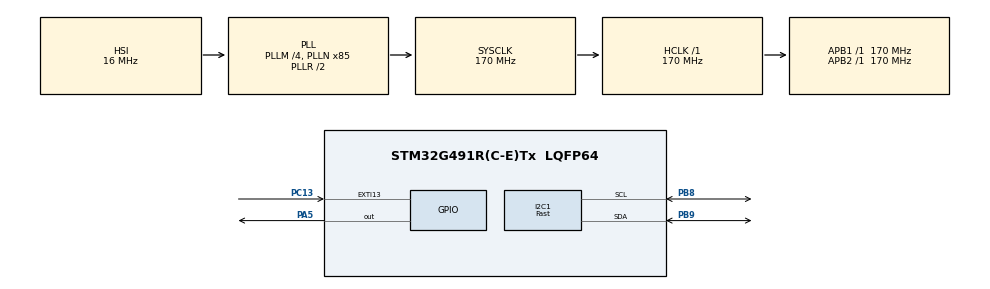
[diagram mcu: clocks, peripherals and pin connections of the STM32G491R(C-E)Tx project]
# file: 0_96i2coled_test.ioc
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I2C1.I2C_Speed_Mode=I2C_Fast
I2C1.Timing=0x40621236
Mcu.Family=STM32G4
Mcu.Name=STM32G491R(C-E)Tx
Mcu.Package=LQFP64
NUCLEO-G491RE.BUTTON=1
NUCLEO-G491RE.LD2=true
NUCLEO-G491RE.VCP=true
NVIC.EXTI15_10_IRQn=true\:0\:0\:false\:false\:true\:true\:true\:true
NVIC.PriorityGroup=NVIC_PRIORITYGROUP_4
PA13.GPIO_Label=T_SWDIO
PA13.Signal=SYS_JTMS-SWDIO
PA14.GPIO_Label=T_SWCLK
PA14.Signal=SYS_JTCK-SWCLK
PA2.Signal=LPUART1_TX
PA3.Signal=LPUART1_RX
PA5.Signal=GPIO_Output
PB3.GPIO_Label=T_SWO
PB3.Signal=SYS_JTDO-SWO
PB8-BOOT0.Mode=I2C
PB8-BOOT0.Signal=I2C1_SCL
PB9.Mode=I2C
PB9.Signal=I2C1_SDA
PC13.Signal=GPXTI13
PC14-OSC32_IN.GPIO_Label=RCC_OSC32_IN
PC14-OSC32_IN.Signal=RCC_OSC32_IN
PC15-OSC32_OUT.GPIO_Label=RCC_OSC32_OUT
PC15-OSC32_OUT.Signal=RCC_OSC32_OUT
PF0-OSC_IN.GPIO_Label=RCC_OSC_IN
PF0-OSC_IN.Signal=RCC_OSC_IN
PF1-OSC_OUT.GPIO_Label=RCC_OSC_OUT
PF1-OSC_OUT.Signal=RCC_OSC_OUT
ProjectManager.HeapSize=0x200
ProjectManager.StackSize=0x400
ProjectManager.TargetToolchain=STM32CubeIDE
RCC.ADC12Freq_Value=170000000
RCC.ADC345Freq_Value=170000000
RCC.AHBFreq_Value=170000000
RCC.APB1Freq_Value=170000000
RCC.APB1TimFreq_Value=170000000
RCC.APB2Freq_Value=170000000
RCC.APB2TimFreq_Value=170000000
RCC.CortexFreq_Value=170000000
RCC.EXTERNAL_CLOCK_VALUE=12288000
RCC.HCLKFreq_Value=170000000
RCC.HSE_VALUE=24000000
RCC.HSI48_VALUE=48000000
RCC.HSI_VALUE=16000000
RCC.LSE_VALUE=32768
RCC.PLLM=RCC_PLLM_DIV4
RCC.PLLN=85
RCC.RTCClockSelection=RCC_RTCCLKSOURCE_LSE
RCC.SYSCLKFreq_VALUE=170000000
RCC.SYSCLKSource=RCC_SYSCLKSOURCE_PLLCLK
RCC.USBFreq_Value=48000000
RCC.VCOOutputFreq_Value=340000000
VP_NUCLEO-G491RE_VS_BSP_COMMON.Mode=COMMON
VP_SYS_VS_DBSignals.Mode=DisableDeadBatterySignals
board=NUCLEO-G491RE

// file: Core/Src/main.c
/* USER CODE BEGIN Header */
/**
  ******************************************************************************
  * @file           : main.c
  * @brief          : Main program body
  ******************************************************************************
  * @attention
  *
  * Copyright (c) 2026 STMicroelectronics.
  * All rights reserved.
  *
  * This software is licensed under terms that can be found in the LICENSE file
  * in the root directory of this software component.
  * If no LICENSE file comes with this software, it is provided AS-IS.
  *
  ******************************************************************************
  */
/* USER CODE END Header */
#include "main.h"
#include <string.h>
#include <stdio.h>

COM_InitTypeDef BspCOMInit;
I2C_HandleTypeDef hi2c1;

/* USER CODE BEGIN PV */
#define OLED_ADDR (0x3C << 1)

// Global RAM frame buffer for the 128x64 display (8 pages of 128 bytes)
uint8_t OLED_Buffer[8][128];

// Complete 5x7 ASCII Font Table (Chars 32 to 95)
const uint8_t SSD1306_Font[][5] = {
    {0x00, 0x00, 0x00, 0x00, 0x00}, // Space
    {0x00, 0x00, 0x5f, 0x00, 0x00}, // !
    {0x00, 0x07, 0x00, 0x07, 0x00}, // "
    {0x14, 0x7f, 0x14, 0x7f, 0x14}, // #
    {0x24, 0x2a, 0x7f, 0x2a, 0x12}, // $
    {0x23, 0x13, 0x08, 0x64, 0x62}, // %
    {0x36, 0x49, 0x55, 0x22, 0x50}, // &
    {0x00, 0x05, 0x03, 0x00, 0x00}, // '
    {0x00, 0x1c, 0x22, 0x41, 0x00}, // (
    {0x00, 0x41, 0x22, 0x1c, 0x00}, // )
    {0x14, 0x08, 0x3e, 0x08, 0x14}, // *
    {0x08, 0x08, 0x3e, 0x08, 0x08}, // +
    {0x00, 0x50, 0x30, 0x00, 0x00}, // ,
    {0x08, 0x08, 0x08, 0x08, 0x08}, // -
    {0x00, 0x60, 0x60, 0x00, 0x00}, // .
    {0x20, 0x10, 0x08, 0x04, 0x02}, // /
    {0x3e, 0x51, 0x49, 0x45, 0x3e}, // 0
    {0x00, 0x42, 0x7f, 0x40, 0x00}, // 1
    {0x42, 0x61, 0x51, 0x49, 0x46}, // 2
    {0x21, 0x41, 0x45, 0x4b, 0x31}, // 3
    {0x18, 0x14, 0x12, 0x7f, 0x10}, // 4
    {0x27, 0x45, 0x45, 0x45, 0x39}, // 5
    {0x3c, 0x4a, 0x49, 0x49, 0x30}, // 6
    {0x01, 0x71, 0x09, 0x05, 0x03}, // 7
    {0x36, 0x49, 0x49, 0x49, 0x36}, // 8
    {0x06, 0x49, 0x49, 0x29, 0x1e}, // 9
    {0x00, 0x36, 0x36, 0x00, 0x00}, // :
    {0x00, 0x56, 0x36, 0x00, 0x00}, // ;
    {0x08, 0x14, 0x22, 0x41, 0x00}, // <
    {0x24, 0x24, 0x24, 0x24, 0x24}, // =
    {0x00, 0x41, 0x22, 0x14, 0x08}, // >
    {0x02, 0x01, 0x51, 0x09, 0x06}, // ?
    {0x32, 0x49, 0x79, 0x41, 0x3e}, // @
    {0x7e, 0x11, 0x11, 0x11, 0x7e}, // A
    {0x7f, 0x49, 0x49, 0x49, 0x36}, // B
    {0x3e, 0x41, 0x41, 0x41, 0x22}, // C
    {0x7f, 0x41, 0x41, 0x22, 0x1c}, // D
    {0x7f, 0x49, 0x49, 0x49, 0x41}, // E
    {0x7f, 0x09, 0x09, 0x09, 0x01}, // F
    {0x3e, 0x41, 0x49, 0x49, 0x7a}, // G
    {0x7f, 0x08, 0x08, 0x08, 0x7f}, // H
    {0x00, 0x41, 0x7f, 0x41, 0x00}, // I
    {0x20, 0x40, 0x41, 0x3f, 0x01}, // J
    {0x7f, 0x08, 0x14, 0x22, 0x41}, // K
    {0x7f, 0x40, 0x40, 0x40, 0x40}, // L
    {0x7f, 0x02, 0x0c, 0x02, 0x7f}, // M
    {0x7f, 0x04, 0x08, 0x10, 0x7f}, // N
    {0x3e, 0x41, 0x41, 0x41, 0x3e}, // O
    {0x7f, 0x09, 0x09, 0x09, 0x06}, // P
    {0x3e, 0x41, 0x51, 0x21, 0x5e}, // Q
    {0x7f, 0x09, 0x19, 0x29, 0x46}, // R
    {0x46, 0x49, 0x49, 0x49, 0x31}, // S
    {0x01, 0x01, 0x7f, 0x01, 0x01}, // T
    {0x3f, 0x40, 0x40, 0x40, 0x3f}, // U
    {0x1f, 0x20, 0x40, 0x20, 0x1f}, // V
    {0x3f, 0x40, 0x38, 0x40, 0x3f}, // W
    {0x63, 0x14, 0x08, 0x14, 0x63}, // X
    {0x07, 0x08, 0x70, 0x08, 0x07}, // Y
    {0x61, 0x51, 0x49, 0x45, 0x43}, // Z
};

void oled_cmd(uint8_t cmd);
void oled_data(uint8_t data);
void oled_init(void);
void oled_clear_buffer(void);
void oled_update(void);
uint32_t oled_buffer_write_str(uint8_t page, int16_t col_offset, char* str);
/* USER CODE END PV */

void SystemClock_Config(void);
static void MX_GPIO_Init(void);
static void MX_I2C1_Init(void);

int main(void)
{
  /* MCU Configuration--------------------------------------------------------*/
  HAL_Init();
  SystemClock_Config();

  MX_GPIO_Init();
  MX_I2C1_Init();

  /* USER CODE BEGIN 2 */
  oled_init();
  oled_clear_buffer();
  oled_update();
  /* USER CODE END 2 */

  /* Initialize standard Nucleo components */
  BSP_LED_Init(LED_GREEN);
  BSP_PB_Init(BUTTON_USER, BUTTON_MODE_EXTI);

  BspCOMInit.BaudRate   = 115200;
  BspCOMInit.WordLength = COM_WORDLENGTH_8B;
  BspCOMInit.StopBits   = COM_STOPBITS_1;
  BspCOMInit.Parity     = COM_PARITY_NONE;
  BspCOMInit.HwFlowCtl  = COM_HWCONTROL_NONE;
  BSP_COM_Init(COM1, &BspCOMInit);

  // Combine the strings into one massive looping ribbon ticker
  char banner_text[] = "   No mo half measures, Walter.  * STAY OUT OF MY TERRITORY!  * ";

  // Calculate total length of the banner message in terms of screen columns
  int16_t text_pixel_width = strlen(banner_text) * 6;

  // Start the text completely hidden off the right edge of the screen (128)
  int16_t scroll_position = 128;

  /* Infinite loop */
  /* USER CODE BEGIN WHILE */
  while (1)
  {
      // 1. Wipe the current buffer frame clean
      oled_clear_buffer();

      // 2. Write text string directly to the virtual buffer layer at our sliding coordinate
      // Placed on page 3 to keep it perfectly centered on the 64-pixel high display
      oled_buffer_write_str(3, scroll_position, banner_text);

      // 3. Push local RAM buffer changes out to physical GDDRAM hardware via I2C
      oled_update();

      // 4. Shift coordinate one pixel to the left
      scroll_position--;

      // Reset position once text has completely crawled past the left edge (-text_pixel_width)
      if (scroll_position < -text_pixel_width) {
          scroll_position = 128;
      }

      // 5. Control speed: lower values crawl fast, higher values slide slow
      HAL_Delay(15);

    /* USER CODE END WHILE */

  }
}

void SystemClock_Config(void)
{
  RCC_OscInitTypeDef RCC_OscInitStruct = {0};
  RCC_ClkInitTypeDef RCC_ClkInitStruct = {0};

  HAL_PWREx_ControlVoltageScaling(PWR_REGULATOR_VOLTAGE_SCALE1_BOOST);

  RCC_OscInitStruct.OscillatorType = RCC_OSCILLATORTYPE_HSI;
  RCC_OscInitStruct.HSIState = RCC_HSI_ON;
  RCC_OscInitStruct.HSICalibrationValue = RCC_HSICALIBRATION_DEFAULT;
  RCC_OscInitStruct.PLL.PLLState = RCC_PLL_ON;
  RCC_OscInitStruct.PLL.PLLSource = RCC_PLLSOURCE_HSI;
  RCC_OscInitStruct.PLL.PLLM = RCC_PLLM_DIV4;
  RCC_OscInitStruct.PLL.PLLN = 85;
  RCC_OscInitStruct.PLL.PLLP = RCC_PLLP_DIV2;
  RCC_OscInitStruct.PLL.PLLQ = RCC_PLLQ_DIV2;
  RCC_OscInitStruct.PLL.PLLR = RCC_PLLR_DIV2;
  HAL_RCC_OscConfig(&RCC_OscInitStruct);

  RCC_ClkInitStruct.ClockType = RCC_CLOCKTYPE_HCLK|RCC_CLOCKTYPE_SYSCLK
                              |RCC_CLOCKTYPE_PCLK1|RCC_CLOCKTYPE_PCLK2;
  RCC_ClkInitStruct.SYSCLKSource = RCC_SYSCLKSOURCE_PLLCLK;
  RCC_ClkInitStruct.AHBCLKDivider = RCC_SYSCLK_DIV1;
  RCC_ClkInitStruct.APB1CLKDivider = RCC_HCLK_DIV1;
  RCC_ClkInitStruct.APB2CLKDivider = RCC_HCLK_DIV1;

  HAL_RCC_ClockConfig(&RCC_ClkInitStruct, FLASH_LATENCY_4);
}

static void MX_I2C1_Init(void)
{
  hi2c1.Instance = I2C1;
  hi2c1.Init.Timing = 0x40621236;
  hi2c1.Init.OwnAddress1 = 0;
  hi2c1.Init.AddressingMode = I2C_ADDRESSINGMODE_7BIT;
  hi2c1.Init.DualAddressMode = I2C_DUALADDRESS_DISABLE;
  hi2c1.Init.OwnAddress2 = 0;
  hi2c1.Init.OwnAddress2Masks = I2C_OA2_NOMASK;
  hi2c1.Init.GeneralCallMode = I2C_GENERALCALL_DISABLE;
  hi2c1.Init.NoStretchMode = I2C_NOSTRETCH_DISABLE;
  HAL_I2C_Init(&hi2c1);

  HAL_I2CEx_ConfigAnalogFilter(&hi2c1, I2C_ANALOGFILTER_ENABLE);
  HAL_I2CEx_ConfigDigitalFilter(&hi2c1, 0);
}

static void MX_GPIO_Init(void)
{
  __HAL_RCC_GPIOC_CLK_ENABLE();
  __HAL_RCC_GPIOF_CLK_ENABLE();
  __HAL_RCC_GPIOA_CLK_ENABLE();
  __HAL_RCC_GPIOB_CLK_ENABLE();
}

/* USER CODE BEGIN 4 */
void oled_cmd(uint8_t cmd) {
    HAL_I2C_Mem_Write(&hi2c1, OLED_ADDR, 0x00, 1, &cmd, 1, HAL_MAX_DELAY);
}

void oled_data(uint8_t data) {
    HAL_I2C_Mem_Write(&hi2c1, OLED_ADDR, 0x40, 1, &data, 1, HAL_MAX_DELAY);
}

void oled_init(void) {
    HAL_Delay(100);

    oled_cmd(0xAE); // Display OFF
    oled_cmd(0xD5); // Set Display Clock Divide Ratio
    oled_cmd(0x80);
    oled_cmd(0xA8); // Set Multiplex Ratio
    oled_cmd(0x3F); // 64 rows
    oled_cmd(0xD3); // Set Display Offset
    oled_cmd(0x00);
    oled_cmd(0x40); // Set Display Start Line to 0
    oled_cmd(0x8D); // Charge Pump Setup
    oled_cmd(0x14); // Enable Charge Pump
    oled_cmd(0x20); // Set Memory Addressing Mode
    oled_cmd(0x00); // Horizontal Addressing Mode for fast frame buffering updates
    oled_cmd(0xA1); // Segment Re-map
    oled_cmd(0xC8); // COM Output Scan Direction
    oled_cmd(0xDA); // COM Pins Hardware Configuration
    oled_cmd(0x12);
    oled_cmd(0x81); // Contrast Control
    oled_cmd(0xCF);
    oled_cmd(0xD9); // Set Pre-charge Period
    oled_cmd(0xF1);
    oled_cmd(0xDB); // Set VCOMH Deselect Level
    oled_cmd(0x40);
    oled_cmd(0xA4); // Entire Display ON
    oled_cmd(0xA6); // Set Normal Display
    oled_cmd(0xAF); // Display ON
}

// Clears memory layout on the local buffer layer
void oled_clear_buffer(void) {
    memset(OLED_Buffer, 0x00, sizeof(OLED_Buffer));
}

// Dumps internal local buffer straight across to SSD1306 GDDRAM hardware
void oled_update(void) {
    oled_cmd(0x21); // Column Address Setup command
    oled_cmd(0x00); // Start column index 0
    oled_cmd(127);  // End column index 127

    oled_cmd(0x22); // Page Address Setup command
    oled_cmd(0x00); // Start page index 0
    oled_cmd(7);    // End page index 7

    HAL_I2C_Mem_Write(&hi2c1, OLED_ADDR, 0x40, 1, (uint8_t*)OLED_Buffer, 1024, HAL_MAX_DELAY);
}

// Prints text directly onto local frame layer mapping buffer with strict screen boundaries
uint32_t oled_buffer_write_str(uint8_t page, int16_t col_offset, char* str) {
    int16_t current_col = col_offset;

    while (*str) {
        char c = *str++;

        if (c >= 'a' && c <= 'z') {
            c -= 32;
        }

        if (c >= 32 && c <= 95) {
            for (uint8_t i = 0; i < 5; i++) {
                if (current_col >= 0 && current_col < 128) {
                    OLED_Buffer[page][current_col] = SSD1306_Font[c - 32][i];
                }
                current_col++;
            }

            if (current_col >= 0 && current_col < 128) {
                OLED_Buffer[page][current_col] = 0x00;
            }
            current_col++;
        }
    }
    return current_col;
}
/* USER CODE END 4 */

void Error_Handler(void)
{
  __disable_irq();
  while (1)
  {
  }
}
